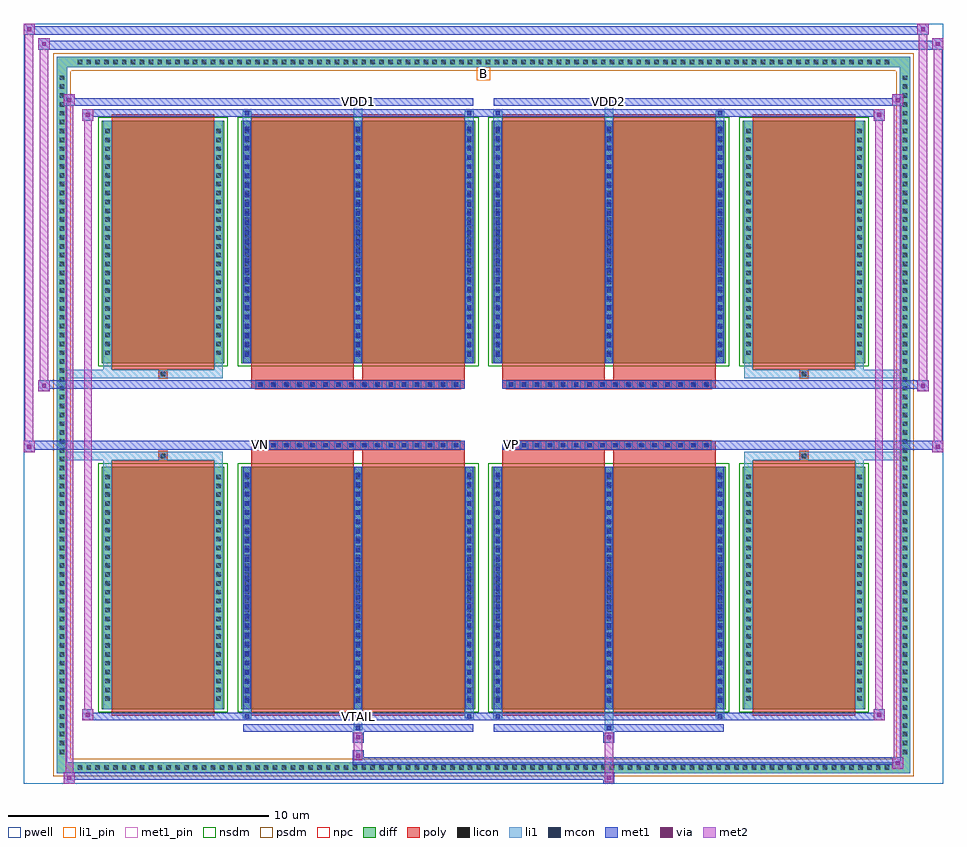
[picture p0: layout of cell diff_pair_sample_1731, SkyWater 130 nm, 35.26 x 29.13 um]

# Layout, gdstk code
import gdstk
lib = gdstk.Library(unit=1e-6, precision=5e-09)
def R(c, l, rs):  # rectangles x0, y0, x1, y1
    for r in rs: c.add(gdstk.rectangle(r[:2], r[2:], *l))
def A(c, l, x, y, w, h, nx, ny, dx, dy):  # array of equal rectangles
    R(c, l, [(x+i*dx, y+j*dy, x+i*dx+w, y+j*dy+h) for i in range(nx) for j in range(ny)])
def P(c, l, *ps):  # polygons
    for p in ps: c.add(gdstk.Polygon(p, *l))
pwell = (64, 44)
diff = (65, 20)
poly = (66, 20)
licon = (66, 44)
li1_pin = (67, 16)
li1 = (67, 20)
mcon = (67, 44)
met1_pin = (68, 16)
met1 = (68, 20)
via = (68, 44)
met2 = (69, 20)
nsdm = (93, 44)
psdm = (94, 20)
npc = (95, 20)

diff_pair_sample_1731 = lib.new_cell('diff_pair_sample_1731')
R(diff_pair_sample_1731, pwell, [(-17.63,-14.13,17.63,15), (-14.95,-12.32,-0.01,-0.8), (0.01,-12.32,14.95,-0.8), (-14.95,0.8,-0.01,12.32), (0.01,0.8,14.95,12.32)])
A(diff_pair_sample_1731, diff, -15.675, -13.73, 0.41, 0.41, 92, 2, 0.34, 27.05)
A(diff_pair_sample_1731, diff, -16.36, -13.125, 0.41, 0.41, 1, 77, 0, 0.34)
A(diff_pair_sample_1731, diff, 15.95, -13.125, 0.41, 0.41, 1, 77, 0, 0.34)
R(diff_pair_sample_1731, diff, [(-15.675,-13.73,15.675,-13.32), (-16.36,-13.125,-15.95,13.125), (15.95,-13.125,16.36,13.125), (-14.64,-11.275,-9.93,-1.985), (-9.29,-11.275,-0.32,-1.985), (0.32,-11.275,9.29,-1.985), (9.93,-11.275,14.64,-1.985), (-14.64,1.985,-9.93,11.275), (-9.29,1.985,-0.32,11.275), (0.32,1.985,9.29,11.275), (9.93,1.985,14.64,11.275), (-15.675,13.32,15.675,13.73)])
P(diff_pair_sample_1731, diff, [(16.36,13.73),(-16.36,13.73),(-16.36,-13.32),(-15.95,-13.32),(-15.95,13.32),(15.95,13.32),(15.95,-13.32),(-15.95,-13.32),(-16.36,-13.32),(-16.36,-13.73),(16.36,-13.73)])
A(diff_pair_sample_1731, poly, -8.72, -1.33, 0.33, 0.33, 16, 2, 0.5, 2.33)
A(diff_pair_sample_1731, poly, 0.89, -1.33, 0.33, 0.33, 16, 2, 0.5, 2.33)
R(diff_pair_sample_1731, poly, [(-14.25,-11.525,-10.32,-1.735), (-8.9,-11.525,-4.97,-1.735), (-4.64,-11.525,-0.71,-1.735), (0.71,-11.525,4.64,-1.735), (4.97,-11.525,8.9,-1.735), (10.32,-11.525,14.25,-1.735), (-12.45,-1.735,-12.12,-1.405), (-12.45,-1.735,-12.12,-1.405), (-8.9,-1.735,-4.97,-1.33), (-4.64,-1.735,-0.71,-1.33), (0.71,-1.735,4.64,-1.33), (4.97,-1.735,8.9,-1.33), (12.12,-1.735,12.45,-1.405), (12.12,-1.735,12.45,-1.405), (-8.9,-1.33,-0.71,-1), (0.71,-1.33,8.9,-1), (-8.9,1,-0.71,1.33), (0.71,1,8.9,1.33), (-8.9,1.33,-4.97,1.735), (-4.64,1.33,-0.71,1.735), (0.71,1.33,4.64,1.735), (4.97,1.33,8.9,1.735), (-12.45,1.405,-12.12,1.735), (-12.45,1.405,-12.12,1.735), (12.12,1.405,12.45,1.735), (12.12,1.405,12.45,1.735), (-14.25,1.735,-10.32,11.525), (-8.9,1.735,-4.97,11.525), (-4.64,1.735,-0.71,11.525), (0.71,1.735,4.64,11.525), (4.97,1.735,8.9,11.525), (10.32,1.735,14.25,11.525)])
A(diff_pair_sample_1731, licon, -15.555, -13.61, 0.17, 0.17, 92, 2, 0.34, 27.05)
A(diff_pair_sample_1731, licon, -16.24, -13.005, 0.17, 0.17, 1, 77, 0, 0.34)
A(diff_pair_sample_1731, licon, 16.07, -13.005, 0.17, 0.17, 1, 77, 0, 0.34)
A(diff_pair_sample_1731, licon, -14.5, -10.965, 0.17, 0.17, 1, 26, 0, 0.34)
A(diff_pair_sample_1731, licon, -10.24, -10.965, 0.17, 0.17, 1, 26, 0, 0.34)
A(diff_pair_sample_1731, licon, -9.15, -10.965, 0.17, 0.17, 3, 26, 4.26, 0.34)
A(diff_pair_sample_1731, licon, 0.46, -10.965, 0.17, 0.17, 3, 26, 4.26, 0.34)
A(diff_pair_sample_1731, licon, 10.07, -10.965, 0.17, 0.17, 1, 26, 0, 0.34)
A(diff_pair_sample_1731, licon, 14.33, -10.965, 0.17, 0.17, 1, 26, 0, 0.34)
A(diff_pair_sample_1731, licon, -8.64, -1.25, 0.17, 0.17, 16, 2, 0.5, 2.33)
A(diff_pair_sample_1731, licon, 0.97, -1.25, 0.17, 0.17, 16, 2, 0.5, 2.33)
A(diff_pair_sample_1731, licon, -14.5, 2.295, 0.17, 0.17, 1, 26, 0, 0.34)
A(diff_pair_sample_1731, licon, -10.24, 2.295, 0.17, 0.17, 1, 26, 0, 0.34)
A(diff_pair_sample_1731, licon, -9.15, 2.295, 0.17, 0.17, 3, 26, 4.26, 0.34)
A(diff_pair_sample_1731, licon, 0.46, 2.295, 0.17, 0.17, 3, 26, 4.26, 0.34)
A(diff_pair_sample_1731, licon, 10.07, 2.295, 0.17, 0.17, 1, 26, 0, 0.34)
A(diff_pair_sample_1731, licon, 14.33, 2.295, 0.17, 0.17, 1, 26, 0, 0.34)
R(diff_pair_sample_1731, licon, [(-12.37,-1.655,-12.2,-1.485), (12.2,-1.655,12.37,-1.485), (-12.37,1.485,-12.2,1.655), (12.2,1.485,12.37,1.655)])
R(diff_pair_sample_1731, li1_pin, [(-0.25,12.82,0.25,13.32)])
A(diff_pair_sample_1731, li1, -15.635, -13.69, 0.33, 0.33, 92, 2, 0.34, 27.05)
A(diff_pair_sample_1731, li1, -16.32, -13.085, 0.33, 0.33, 1, 77, 0, 0.34)
A(diff_pair_sample_1731, li1, 15.99, -13.085, 0.33, 0.33, 1, 77, 0, 0.34)
A(diff_pair_sample_1731, li1, -9.23, -11.275, 0.33, 9.29, 3, 2, 4.26, 13.26)
A(diff_pair_sample_1731, li1, 0.38, -11.275, 0.33, 9.29, 3, 2, 4.26, 13.26)
A(diff_pair_sample_1731, li1, -14.58, -11.045, 0.33, 0.33, 1, 26, 0, 0.34)
A(diff_pair_sample_1731, li1, -10.32, -11.045, 0.33, 0.33, 1, 26, 0, 0.34)
A(diff_pair_sample_1731, li1, -9.23, -11.045, 0.33, 0.33, 3, 26, 4.26, 0.34)
A(diff_pair_sample_1731, li1, 0.38, -11.045, 0.33, 0.33, 3, 26, 4.26, 0.34)
A(diff_pair_sample_1731, li1, 9.99, -11.045, 0.33, 0.33, 1, 26, 0, 0.34)
A(diff_pair_sample_1731, li1, 14.25, -11.045, 0.33, 0.33, 1, 26, 0, 0.34)
A(diff_pair_sample_1731, li1, -9.15, -11.035, 0.17, 0.17, 3, 25, 4.26, 0.36)
A(diff_pair_sample_1731, li1, -9.15, -11.035, 0.17, 8.81, 3, 2, 4.26, 13.26)
A(diff_pair_sample_1731, li1, 0.46, -11.035, 0.17, 0.17, 3, 25, 4.26, 0.36)
A(diff_pair_sample_1731, li1, 0.46, -11.035, 0.17, 8.81, 3, 2, 4.26, 13.26)
A(diff_pair_sample_1731, li1, -8.72, -1.33, 0.33, 0.33, 16, 2, 0.5, 2.33)
A(diff_pair_sample_1731, li1, 0.89, -1.33, 0.33, 0.33, 16, 2, 0.5, 2.33)
A(diff_pair_sample_1731, li1, -14.58, 2.215, 0.33, 0.33, 1, 26, 0, 0.34)
A(diff_pair_sample_1731, li1, -10.32, 2.215, 0.33, 0.33, 1, 26, 0, 0.34)
A(diff_pair_sample_1731, li1, -9.23, 2.215, 0.33, 0.33, 3, 26, 4.26, 0.34)
A(diff_pair_sample_1731, li1, 0.38, 2.215, 0.33, 0.33, 3, 26, 4.26, 0.34)
A(diff_pair_sample_1731, li1, 9.99, 2.215, 0.33, 0.33, 1, 26, 0, 0.34)
A(diff_pair_sample_1731, li1, 14.25, 2.215, 0.33, 0.33, 1, 26, 0, 0.34)
A(diff_pair_sample_1731, li1, -9.15, 2.225, 0.17, 0.17, 3, 25, 4.26, 0.36)
A(diff_pair_sample_1731, li1, 0.46, 2.225, 0.17, 0.17, 3, 25, 4.26, 0.36)
R(diff_pair_sample_1731, li1, [(-16.36,-13.73,-15.95,-13.32), (-16.36,-13.73,-15.95,-13.32), (-15.95,-13.73,15.95,-13.32), (15.95,-13.73,16.36,-13.32), (15.95,-13.73,16.36,-13.32), (-16.36,-13.32,-15.95,13.32), (15.95,-13.32,16.36,13.32), (-4.97,-12.08,-4.64,-11.275), (-4.89,-12.08,-4.72,-11.91), (4.64,-12.08,4.97,-11.275), (4.72,-12.08,4.89,-11.91), (-9.23,-11.65,-8.9,-11.275), (-9.15,-11.65,-8.98,-11.48), (-0.71,-11.65,-0.38,-11.275), (-0.63,-11.65,-0.46,-11.48), (0.38,-11.65,0.71,-11.275), (0.46,-11.65,0.63,-11.48), (8.9,-11.65,9.23,-11.275), (8.98,-11.65,9.15,-11.48), (-14.58,-11.275,-14.25,-1.985), (-10.32,-11.275,-9.99,-1.985), (9.99,-11.275,10.32,-1.985), (14.25,-11.275,14.58,-1.985), (-14.58,-1.985,-14.25,-1.405), (-10.32,-1.985,-9.99,-1.405), (9.99,-1.985,10.32,-1.405), (14.25,-1.985,14.58,-1.405), (-16.36,-1.735,-12.45,-1.405), (-14.58,-1.735,-12.45,-1.405), (-12.45,-1.735,-12.12,-1.405), (-12.12,-1.735,-9.99,-1.405), (9.99,-1.735,12.12,-1.405), (12.12,-1.735,12.45,-1.405), (12.12,-1.735,16.36,-1.405), (12.45,-1.735,14.58,-1.405), (-16.36,1.405,-12.45,1.735), (-14.58,1.405,-12.45,1.735), (-14.58,1.405,-14.25,1.985), (-12.45,1.405,-12.12,1.735), (-12.12,1.405,-9.99,1.735), (-10.32,1.405,-9.99,1.985), (9.99,1.405,12.12,1.735), (9.99,1.405,10.32,1.985), (12.12,1.405,12.45,1.735), (12.12,1.405,16.36,1.735), (12.45,1.405,14.58,1.735), (14.25,1.405,14.58,1.985), (-14.58,1.985,-14.25,11.275), (-10.32,1.985,-9.99,11.275), (9.99,1.985,10.32,11.275), (14.25,1.985,14.58,11.275), (-9.23,11.275,-8.9,11.65), (-4.97,11.275,-4.64,12.08), (-0.71,11.275,-0.38,11.65), (0.38,11.275,0.71,11.65), (4.64,11.275,4.97,12.08), (8.9,11.275,9.23,11.65), (-9.15,11.48,-8.98,11.65), (-0.63,11.48,-0.46,11.65), (0.46,11.48,0.63,11.65), (8.98,11.48,9.15,11.65), (-4.89,11.91,-4.72,12.08), (4.72,11.91,4.89,12.08), (-16.36,13.32,-15.95,13.73), (-16.36,13.32,-15.95,13.73), (-15.95,13.32,15.95,13.73), (15.95,13.32,16.36,13.73), (15.95,13.32,16.36,13.73)])
A(diff_pair_sample_1731, mcon, -9.15, -11.035, 0.17, 0.17, 3, 25, 4.26, 0.36)
A(diff_pair_sample_1731, mcon, 0.46, -11.035, 0.17, 0.17, 3, 25, 4.26, 0.36)
A(diff_pair_sample_1731, mcon, -8.64, -1.25, 0.17, 0.17, 16, 2, 0.5, 2.33)
A(diff_pair_sample_1731, mcon, 0.97, -1.25, 0.17, 0.17, 16, 2, 0.5, 2.33)
A(diff_pair_sample_1731, mcon, -9.15, 2.225, 0.17, 0.17, 3, 25, 4.26, 0.36)
A(diff_pair_sample_1731, mcon, 0.46, 2.225, 0.17, 0.17, 3, 25, 4.26, 0.36)
R(diff_pair_sample_1731, mcon, [(-4.89,-12.08,-4.72,-11.91), (4.72,-12.08,4.89,-11.91), (-9.15,-11.65,-8.98,-11.48), (-0.63,-11.65,-0.46,-11.48), (0.46,-11.65,0.63,-11.48), (8.98,-11.65,9.15,-11.48), (-9.15,11.48,-8.98,11.65), (-0.63,11.48,-0.46,11.65), (0.46,11.48,0.63,11.65), (8.98,11.48,9.15,11.65), (-4.89,11.91,-4.72,12.08), (4.72,11.91,4.89,12.08)])
R(diff_pair_sample_1731, met1_pin, [(-4.94,-11.69,-4.67,-11.42), (-8.69,-1.29,-8.42,-1.02), (0.92,-1.29,1.19,-1.02), (-4.94,11.87,-4.67,12.14), (4.67,11.87,4.94,12.14)])
A(diff_pair_sample_1731, met1, -9.21, -11.275, 0.29, 9.29, 3, 2, 4.26, 13.26)
A(diff_pair_sample_1731, met1, 0.4, -11.275, 0.29, 9.29, 3, 2, 4.26, 13.26)
A(diff_pair_sample_1731, met1, -9.21, -11.095, 0.29, 0.29, 3, 25, 4.26, 0.36)
A(diff_pair_sample_1731, met1, 0.4, -11.095, 0.29, 0.29, 3, 25, 4.26, 0.36)
A(diff_pair_sample_1731, met1, -8.7, -1.31, 0.29, 0.29, 16, 2, 0.5, 2.33)
A(diff_pair_sample_1731, met1, 0.91, -1.31, 0.29, 0.29, 16, 2, 0.5, 2.33)
A(diff_pair_sample_1731, met1, -9.21, 2.165, 0.29, 0.29, 3, 25, 4.26, 0.36)
A(diff_pair_sample_1731, met1, 0.4, 2.165, 0.29, 0.29, 3, 25, 4.26, 0.36)
R(diff_pair_sample_1731, met1, [(-16.09,-14.13,-15.66,-13.7), (4.59,-14.13,5.02,-13.7), (-16.09,-13.99,5.02,-13.7), (15.66,-13.56,16.09,-13.13), (-5.02,-13.42,16.09,-13.13), (-5.02,-13.28,-4.59,-12.85), (-5.02,-12.57,-4.59,-12.14), (4.59,-12.57,5.02,-12.14), (-9.21,-12.14,-0.4,-11.85), (-4.95,-12.14,-4.66,-11.85), (0.4,-12.14,9.21,-11.85), (4.66,-12.14,4.95,-11.85), (-15.38,-11.71,-14.95,-11.28), (-15.38,-11.71,-9.21,-11.42), (-9.21,-11.71,-8.92,-11.42), (-9.21,-11.71,-0.4,-11.42), (-0.69,-11.71,-0.4,-11.42), (-0.4,-11.71,0.4,-11.42), (0.4,-11.71,0.69,-11.42), (0.4,-11.71,9.21,-11.42), (8.92,-11.71,9.21,-11.42), (9.21,-11.71,15.38,-11.42), (14.95,-11.71,15.38,-11.28), (-17.63,-1.43,-17.2,-1), (17.2,-1.43,17.63,-1), (-17.63,-1.33,-0.71,-1), (-8.9,-1.33,-0.71,-1), (0.71,-1.33,8.9,-1), (0.71,-1.33,17.63,-1), (-17.06,0.9,-16.63,1.33), (16.63,0.9,17.06,1.33), (-17.06,1,-8.9,1.33), (-8.9,1,-0.71,1.33), (0.71,1,8.9,1.33), (8.9,1,17.06,1.33), (-15.38,11.28,-14.95,11.71), (14.95,11.28,15.38,11.71), (-15.38,11.42,-9.21,11.71), (-9.21,11.42,-8.92,11.71), (-9.21,11.42,-0.4,11.71), (-0.69,11.42,-0.4,11.71), (-0.4,11.42,0.4,11.71), (0.4,11.42,0.69,11.71), (0.4,11.42,9.21,11.71), (8.92,11.42,9.21,11.71), (9.21,11.42,15.38,11.71), (-16.09,11.85,-15.66,12.28), (-16.09,11.85,-9.21,12.14), (-9.21,11.85,-0.4,12.14), (-4.95,11.85,-4.66,12.14), (0.4,11.85,9.21,12.14), (4.66,11.85,4.95,12.14), (9.21,11.85,16.09,12.14), (15.66,11.85,16.09,12.28), (-17.06,14,-16.63,14.43), (-17.06,14,-14.95,14.33), (-14.95,14,14.95,14.33), (14.95,14,17.63,14.33), (17.2,14,17.63,14.43), (-17.63,14.57,-17.2,15), (-17.63,14.57,-14.95,14.9), (-14.95,14.57,14.95,14.9), (14.95,14.57,17.06,14.9), (16.63,14.57,17.06,15)])
R(diff_pair_sample_1731, via, [(-15.95,-13.99,-15.8,-13.84), (4.73,-13.99,4.88,-13.84), (15.8,-13.42,15.95,-13.27), (-4.88,-13.14,-4.73,-12.99), (-4.88,-12.43,-4.73,-12.28), (4.73,-12.43,4.88,-12.28), (-15.24,-11.57,-15.09,-11.42), (15.09,-11.57,15.24,-11.42), (-17.49,-1.29,-17.34,-1.14), (17.34,-1.29,17.49,-1.14), (-16.92,1.04,-16.77,1.19), (16.77,1.04,16.92,1.19), (-15.24,11.42,-15.09,11.57), (15.09,11.42,15.24,11.57), (-15.95,11.99,-15.8,12.14), (15.8,11.99,15.95,12.14), (-16.92,14.14,-16.77,14.29), (17.34,14.14,17.49,14.29), (-17.49,14.71,-17.34,14.86), (16.77,14.71,16.92,14.86)])
R(diff_pair_sample_1731, met2, [(-16.09,-14.13,-15.66,-13.7), (-16.02,-14.13,-15.73,12.28), (-15.73,-14.13,-15.66,-13.7), (-16.04,-14.08,-15.71,-13.75), (4.64,-14.08,4.97,-13.75), (4.64,-13.75,4.97,-12.52), (15.66,-13.56,16.09,-13.13), (15.73,-13.56,16.02,12.28), (16.02,-13.56,16.09,-13.13), (15.71,-13.51,16.04,-13.18), (-4.97,-13.23,-4.64,-12.9), (-4.97,-12.9,-4.64,-12.52), (-4.97,-12.52,-4.64,-12.19), (4.64,-12.52,4.97,-12.19), (-15.38,-11.71,-14.95,-11.28), (-15.31,-11.71,-15.02,11.71), (-15.02,-11.71,-14.95,-11.28), (14.95,-11.71,15.38,-11.28), (15.02,-11.71,15.31,11.71), (15.31,-11.71,15.38,-11.28), (-15.33,-11.66,-15,-11.33), (15,-11.66,15.33,-11.33), (-17.63,-1.43,-17.2,-1), (-17.58,-1.43,-17.25,15), (-17.25,-1.43,-17.2,-1), (17.2,-1.43,17.63,-1), (17.25,-1.43,17.58,14.43), (17.58,-1.43,17.63,-1), (-17.58,-1.38,-17.25,-1.05), (17.25,-1.38,17.58,-1.05), (-17.06,0.9,-16.63,1.33), (-17.01,0.9,-16.68,14.43), (-16.68,0.9,-16.63,1.33), (16.63,0.9,17.06,1.33), (16.68,0.9,17.01,15), (17.01,0.9,17.06,1.33), (-17.01,0.95,-16.68,1.28), (16.68,0.95,17.01,1.28), (-15.38,11.28,-14.95,11.71), (-15.02,11.28,-14.95,11.71), (14.95,11.28,15.38,11.71), (15.31,11.28,15.38,11.71), (-15.33,11.33,-15,11.66), (15,11.33,15.33,11.66), (-16.09,11.85,-15.66,12.28), (-15.73,11.85,-15.66,12.28), (15.66,11.85,16.09,12.28), (16.02,11.85,16.09,12.28), (-16.04,11.9,-15.71,12.23), (15.71,11.9,16.04,12.23), (-17.06,14,-16.63,14.43), (-16.68,14,-16.63,14.43), (17.2,14,17.63,14.43), (17.58,14,17.63,14.43), (-17.01,14.05,-16.68,14.38), (17.25,14.05,17.58,14.38), (-17.63,14.57,-17.2,15), (-17.25,14.57,-17.2,15), (16.63,14.57,17.06,15), (17.01,14.57,17.06,15), (-17.58,14.62,-17.25,14.95), (16.68,14.62,17.01,14.95)])
R(diff_pair_sample_1731, nsdm, [(-14.77,-11.405,-9.8,-1.855), (-9.42,-11.405,-0.19,-1.855), (0.19,-11.405,9.42,-1.855), (9.8,-11.405,14.77,-1.855), (-14.77,1.855,-9.8,11.405), (-9.42,1.855,-0.19,11.405), (0.19,1.855,9.42,11.405), (9.8,1.855,14.77,11.405)])
P(diff_pair_sample_1731, psdm, [(16.49,13.86),(-16.49,13.86),(-16.49,-13.19),(-15.82,-13.19),(-15.82,13.19),(15.82,13.19),(15.82,-13.19),(-15.82,-13.19),(-16.49,-13.19),(-16.49,-13.86),(16.49,-13.86)])
A(diff_pair_sample_1731, npc, -8.74, -1.35, 0.37, 0.37, 16, 2, 0.5, 2.33)
A(diff_pair_sample_1731, npc, 0.87, -1.35, 0.37, 0.37, 16, 2, 0.5, 2.33)
R(diff_pair_sample_1731, npc, [(-12.47,-1.755,-12.1,-1.385), (12.1,-1.755,12.47,-1.385), (-8.74,-1.35,-7.87,-0.98), (-8.74,-1.35,-7.87,-0.98), (-8.24,-1.35,-7.37,-0.98), (-8.24,-1.35,-7.37,-0.98), (-7.74,-1.35,-6.87,-0.98), (-7.74,-1.35,-6.87,-0.98), (-7.24,-1.35,-6.37,-0.98), (-7.24,-1.35,-6.37,-0.98), (-6.74,-1.35,-5.87,-0.98), (-6.74,-1.35,-5.87,-0.98), (-6.24,-1.35,-5.37,-0.98), (-6.24,-1.35,-5.37,-0.98), (-5.74,-1.35,-4.87,-0.98), (-5.74,-1.35,-4.87,-0.98), (-5.24,-1.35,-4.37,-0.98), (-5.24,-1.35,-4.37,-0.98), (-4.74,-1.35,-3.87,-0.98), (-4.74,-1.35,-3.87,-0.98), (-4.24,-1.35,-3.37,-0.98), (-4.24,-1.35,-3.37,-0.98), (-3.74,-1.35,-2.87,-0.98), (-3.74,-1.35,-2.87,-0.98), (-3.24,-1.35,-2.37,-0.98), (-3.24,-1.35,-2.37,-0.98), (-2.74,-1.35,-1.87,-0.98), (-2.74,-1.35,-1.87,-0.98), (-2.24,-1.35,-1.37,-0.98), (-2.24,-1.35,-1.37,-0.98), (-1.74,-1.35,-0.87,-0.98), (-1.74,-1.35,-0.87,-0.98), (0.87,-1.35,1.74,-0.98), (0.87,-1.35,1.74,-0.98), (1.37,-1.35,2.24,-0.98), (1.37,-1.35,2.24,-0.98), (1.87,-1.35,2.74,-0.98), (1.87,-1.35,2.74,-0.98), (2.37,-1.35,3.24,-0.98), (2.37,-1.35,3.24,-0.98), (2.87,-1.35,3.74,-0.98), (2.87,-1.35,3.74,-0.98), (3.37,-1.35,4.24,-0.98), (3.37,-1.35,4.24,-0.98), (3.87,-1.35,4.74,-0.98), (3.87,-1.35,4.74,-0.98), (4.37,-1.35,5.24,-0.98), (4.37,-1.35,5.24,-0.98), (4.87,-1.35,5.74,-0.98), (4.87,-1.35,5.74,-0.98), (5.37,-1.35,6.24,-0.98), (5.37,-1.35,6.24,-0.98), (5.87,-1.35,6.74,-0.98), (5.87,-1.35,6.74,-0.98), (6.37,-1.35,7.24,-0.98), (6.37,-1.35,7.24,-0.98), (6.87,-1.35,7.74,-0.98), (6.87,-1.35,7.74,-0.98), (7.37,-1.35,8.24,-0.98), (7.37,-1.35,8.24,-0.98), (7.87,-1.35,8.74,-0.98), (7.87,-1.35,8.74,-0.98), (-8.74,0.98,-7.87,1.35), (-8.74,0.98,-7.87,1.35), (-8.24,0.98,-7.37,1.35), (-8.24,0.98,-7.37,1.35), (-7.74,0.98,-6.87,1.35), (-7.74,0.98,-6.87,1.35), (-7.24,0.98,-6.37,1.35), (-7.24,0.98,-6.37,1.35), (-6.74,0.98,-5.87,1.35), (-6.74,0.98,-5.87,1.35), (-6.24,0.98,-5.37,1.35), (-6.24,0.98,-5.37,1.35), (-5.74,0.98,-4.87,1.35), (-5.74,0.98,-4.87,1.35), (-5.24,0.98,-4.37,1.35), (-5.24,0.98,-4.37,1.35), (-4.74,0.98,-3.87,1.35), (-4.74,0.98,-3.87,1.35), (-4.24,0.98,-3.37,1.35), (-4.24,0.98,-3.37,1.35), (-3.74,0.98,-2.87,1.35), (-3.74,0.98,-2.87,1.35), (-3.24,0.98,-2.37,1.35), (-3.24,0.98,-2.37,1.35), (-2.74,0.98,-1.87,1.35), (-2.74,0.98,-1.87,1.35), (-2.24,0.98,-1.37,1.35), (-2.24,0.98,-1.37,1.35), (-1.74,0.98,-0.87,1.35), (-1.74,0.98,-0.87,1.35), (0.87,0.98,1.74,1.35), (0.87,0.98,1.74,1.35), (1.37,0.98,2.24,1.35), (1.37,0.98,2.24,1.35), (1.87,0.98,2.74,1.35), (1.87,0.98,2.74,1.35), (2.37,0.98,3.24,1.35), (2.37,0.98,3.24,1.35), (2.87,0.98,3.74,1.35), (2.87,0.98,3.74,1.35), (3.37,0.98,4.24,1.35), (3.37,0.98,4.24,1.35), (3.87,0.98,4.74,1.35), (3.87,0.98,4.74,1.35), (4.37,0.98,5.24,1.35), (4.37,0.98,5.24,1.35), (4.87,0.98,5.74,1.35), (4.87,0.98,5.74,1.35), (5.37,0.98,6.24,1.35), (5.37,0.98,6.24,1.35), (5.87,0.98,6.74,1.35), (5.87,0.98,6.74,1.35), (6.37,0.98,7.24,1.35), (6.37,0.98,7.24,1.35), (6.87,0.98,7.74,1.35), (6.87,0.98,7.74,1.35), (7.37,0.98,8.24,1.35), (7.37,0.98,8.24,1.35), (7.87,0.98,8.74,1.35), (7.87,0.98,8.74,1.35), (-12.47,1.385,-12.1,1.755), (12.1,1.385,12.47,1.755)])
diff_pair_sample_1731.add(gdstk.Label('VTAIL', (-4.805,-11.555), layer=68, texttype=5))
diff_pair_sample_1731.add(gdstk.Label('VN', (-8.555,-1.155), layer=68, texttype=5))
diff_pair_sample_1731.add(gdstk.Label('VP', (1.055,-1.155), layer=68, texttype=5))
diff_pair_sample_1731.add(gdstk.Label('B', (0,13.07), layer=67, texttype=5))
diff_pair_sample_1731.add(gdstk.Label('VDD2', (4.805,12.005), layer=68, texttype=5))
diff_pair_sample_1731.add(gdstk.Label('VDD1', (-4.805,12.005), layer=68, texttype=5))

lib.write_gds('diff_pair_sample_1731.gds')
